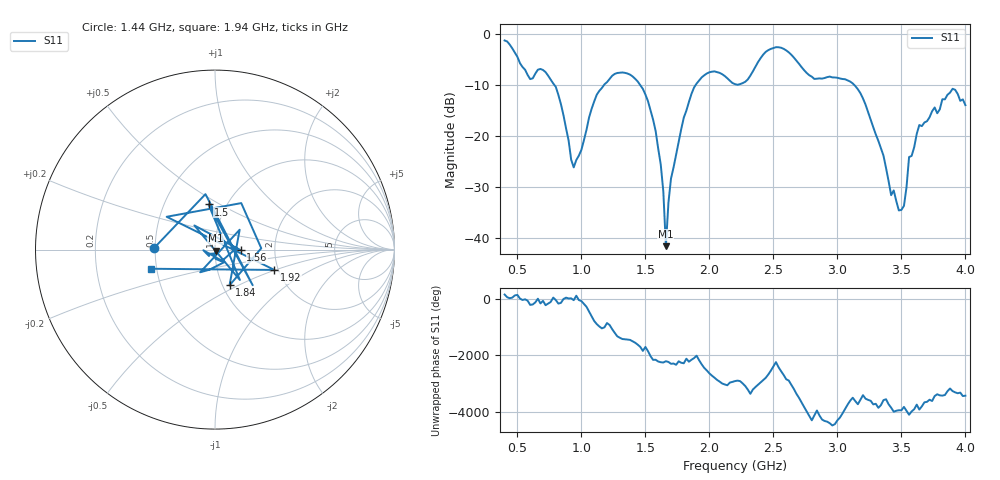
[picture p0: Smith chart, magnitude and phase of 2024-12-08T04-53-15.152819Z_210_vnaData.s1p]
!Created with skrf (http://scikit-rf.org).
# Hz S RI R 50.0
!freq ReS11 ImS11
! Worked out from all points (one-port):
!   181 points, 400 MHz to 4 GHz, reference 50 ohm
!   lowest |S11| = -41.7 dB at 1.66 GHz (marker M1), VSWR 1.02, Z = 50.5 - j0.648 ohm
!   |S11| at or under -10 dB: 788 MHz to 1.177 GHz (389.5 MHz wide, 39.6 % of centre); 1.458 GHz to 1.894 GHz (435.6 MHz wide, 26 % of centre); 3.131 GHz to end of sweep
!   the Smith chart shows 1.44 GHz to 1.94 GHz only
!   S11 on the Smith chart (normalised r, x): 1.44 GHz: 0.49, +0.01; 1.5 GHz: 0.82, +0.44; 1.56 GHz: 1.34, -0.01; 1.84 GHz: 1.08, -0.45; 1.92 GHz: 1.91, -0.49; 1.94 GHz: 0.46, -0.11
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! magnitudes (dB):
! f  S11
! 400 MHz  -1.3
! 600 MHz  -8.9
! 720 MHz  -7.5
! 860 MHz  -16.0
! 940 MHz  -26.2
! 1.12 GHz  -11.9
! 1.3 GHz  -7.6
! 1.44 GHz  -9.3
! 1.5 GHz  -11.9
! 1.56 GHz  -16.8
! 1.62 GHz  -25.7
! 1.66 GHz  -41.7
! 1.7 GHz  -28.4
! 1.76 GHz  -21.2
! 1.84 GHz  -13.4
! 1.92 GHz  -9.1
! 1.94 GHz  -8.5
! 2.2 GHz  -9.9
! 2.48 GHz  -3.0
! 2.66 GHz  -4.7
! 3.1 GHz  -9.4
! 3.22 GHz  -13.9
! 3.48 GHz  -34.6
! 3.52 GHz  -33.7
! 3.56 GHz  -24.2
! 3.64 GHz  -17.9
! 3.9 GHz  -10.8
! 4 GHz  -14.0
